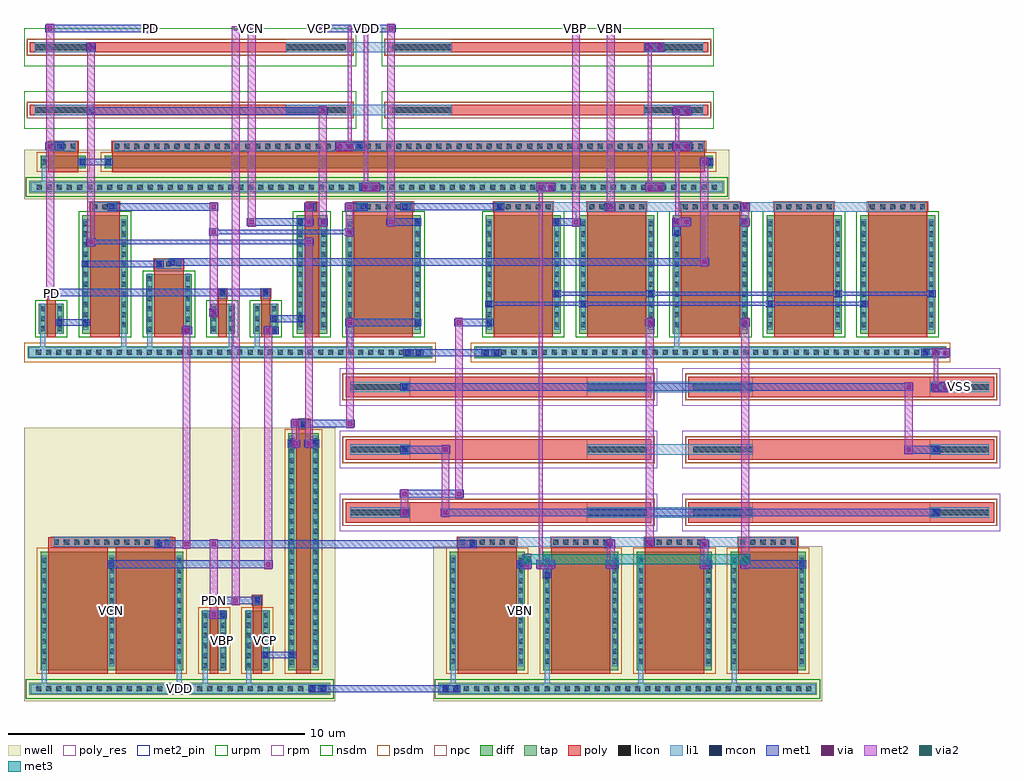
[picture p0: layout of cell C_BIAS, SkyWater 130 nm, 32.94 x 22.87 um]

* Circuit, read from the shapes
.subckt C_BIAS PD PDN VBN VBP VCN VCP VDD VSS
XM1 n1 PD VSS VSS sky130_fd_pr__nfet_01v8 w=1 l=0.3
XM2 VSS VBN n1 VSS sky130_fd_pr__nfet_01v8 w=4 l=1
XM3 VBP n1 VSS VSS sky130_fd_pr__nfet_01v8 w=2 l=1
XM4 VSS PD VBN VSS sky130_fd_pr__nfet_01v8 w=1 l=0.3
XM5 VCN PD VSS VSS sky130_fd_pr__nfet_01v8 w=1 l=0.3
XM6 n2 VCN VCN VSS sky130_fd_pr__nfet_01v8 w=4 l=0.5
XM7 VCP VBN VSS VSS sky130_fd_pr__nfet_01v8 w=4 l=2
XM8 VBP VBN n3 VSS sky130_fd_pr__nfet_01v8 w=4 l=2 m=4
XM9 VBN VBN VSS VSS sky130_fd_pr__nfet_01v8 w=4 l=2
XM10 VCN VBP VDD VDD sky130_fd_pr__pfet_01v8 w=4 l=2 m=2
XM11 n4 PD VDD VDD sky130_fd_pr__pfet_01v8 w=0.42 l=1
XM12 n1 VSS n4 VDD sky130_fd_pr__pfet_01v8 w=0.42 l=20
XM13 VBP PDN VDD VDD sky130_fd_pr__pfet_01v8 w=2 l=0.3
XM14 VCP PDN VDD VDD sky130_fd_pr__pfet_01v8 w=2 l=0.3
XM15 n5 VCP VCP VDD sky130_fd_pr__pfet_01v8 w=8 l=0.5
XM16 VBN VBP VDD VDD sky130_fd_pr__pfet_01v8 w=4 l=2 m=2
XM17 VBP VBP VDD VDD sky130_fd_pr__pfet_01v8 w=4 l=2 m=2
XR18 n6 n2 VSS sky130_fd_pr__res_xhigh_po w=0.35 l=6.38
XR19 n7 n5 VSS sky130_fd_pr__res_xhigh_po w=0.35 l=6.38
XR20 n8 n3 VSS sky130_fd_pr__res_high_po w=0.69 l=5.88
XR21 n9 n10 VSS sky130_fd_pr__res_high_po w=0.69 l=5.88
XR22 n11 n12 VSS sky130_fd_pr__res_high_po w=0.69 l=5.88
XR23 VSS n6 VSS sky130_fd_pr__res_xhigh_po w=0.35 l=6.38
XR24 VDD n7 VSS sky130_fd_pr__res_xhigh_po w=0.35 l=6.38
XR25 n10 n8 VSS sky130_fd_pr__res_high_po w=0.69 l=5.88
XR26 n12 n9 VSS sky130_fd_pr__res_high_po w=0.69 l=5.88
XR27 VSS n11 VSS sky130_fd_pr__res_high_po w=0.69 l=5.88
.ends

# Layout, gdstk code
import gdstk
lib = gdstk.Library(unit=1e-6, precision=1e-09)
def R(c, l, rs):  # rectangles x0, y0, x1, y1
    for r in rs: c.add(gdstk.rectangle(r[:2], r[2:], *l))
def A(c, l, x, y, w, h, nx, ny, dx, dy):  # array of equal rectangles
    R(c, l, [(x+i*dx, y+j*dy, x+i*dx+w, y+j*dy+h) for i in range(nx) for j in range(ny)])
nwell = (64, 20)
diff = (65, 20)
tap = (65, 44)
poly_res = (66, 13)
poly = (66, 20)
licon = (66, 44)
li1 = (67, 20)
mcon = (67, 44)
met1 = (68, 20)
via = (68, 44)
met2_pin = (69, 16)
met2 = (69, 20)
via2 = (69, 44)
met3 = (70, 20)
urpm = (79, 20)
rpm = (86, 20)
nsdm = (93, 44)
psdm = (94, 20)
npc = (95, 20)

c_bias = lib.new_cell('C_BIAS')
R(c_bias, nwell, [(-5.255,-1.055,5.255,8.18), (8.555,-1.055,21.685,4.18), (-5.255,15.885,18.555,17.57)])
A(c_bias, diff, 9.115, 0, 2.53, 4, 4, 1, 3.16, 0)
A(c_bias, diff, 10.33, 11.36, 2.53, 4, 5, 1, 3.16, 0)
R(c_bias, diff, [(-4.695,0,0.115,4), (0.745,0,1.575,2), (2.205,0,3.035,2), (3.665,0,4.695,8), (-4.75,11.36,-3.92,12.36), (-3.29,11.36,-1.76,15.36), (-1.13,11.36,0.4,13.36), (1.03,11.36,1.86,12.36), (2.49,11.36,3.32,12.36), (3.95,11.36,4.98,15.36), (5.61,11.36,8.14,15.36), (-4.695,16.94,-3.165,17.36), (-2.535,16.94,17.995,17.36)])
R(c_bias, tap, [(-5.075,-0.84,5.075,-0.43), (8.735,-0.84,21.505,-0.43), (-5.13,10.52,8.52,10.93), (9.95,10.52,25.88,10.93), (-5.075,16.1,18.375,16.51)])
A(c_bias, poly_res, 7.76, 4.975, 6, 0.69, 1, 3, 0, 2.12)
A(c_bias, poly_res, 19.33, 4.975, 6, 0.69, 1, 3, 0, 2.12)
R(c_bias, poly_res, [(-2.895,18.73,3.605,19.08), (9.175,18.73,15.675,19.08), (-2.895,20.85,3.605,21.2), (9.175,20.85,15.675,21.2)])
A(c_bias, poly, 9.38, -0.13, 2, 4.615, 4, 1, 3.16, 0)
A(c_bias, poly, 9.38, 4.155, 2, 0.33, 4, 1, 3.16, 0)
A(c_bias, poly, 5.6, 4.975, 10.32, 0.69, 1, 3, 0, 2.12)
A(c_bias, poly, 17.17, 4.975, 10.32, 0.69, 1, 3, 0, 2.12)
A(c_bias, poly, 10.595, 11.23, 2, 4.57, 5, 1, 3.16, 0)
A(c_bias, poly, 10.595, 15.47, 2, 0.33, 5, 1, 3.16, 0)
R(c_bias, poly, [(-4.43,-0.13,-2.43,4.485), (-2.15,-0.13,-0.15,4.485), (1.01,-0.13,1.31,2.515), (2.47,-0.13,2.77,2.515), (3.93,-0.13,4.43,8.485), (1.01,2.185,1.31,2.515), (2.47,2.185,2.77,2.515), (-4.43,4.155,-0.15,4.485), (3.93,8.155,4.43,8.485), (-4.485,11.23,-4.185,12.865), (-3.025,11.23,-2.025,15.8), (-0.865,11.23,0.135,13.875), (1.295,11.23,1.595,12.865), (2.755,11.23,3.055,12.865), (4.215,11.23,4.715,15.8), (5.875,11.23,7.875,15.8), (-4.485,12.535,-4.185,12.865), (1.295,12.535,1.595,12.865), (2.755,12.535,3.055,12.865), (-0.865,13.545,0.135,13.875), (-3.025,15.47,-2.025,15.8), (4.215,15.47,4.715,15.8), (5.875,15.47,7.875,15.8), (-4.43,16.81,-3.43,17.845), (-2.27,16.81,17.73,17.845), (-4.43,17.515,-3.43,17.845), (-2.27,17.515,17.73,17.845), (-5.055,18.73,5.765,19.08), (7.015,18.73,17.835,19.08), (-5.055,20.85,5.765,21.2), (7.015,20.85,17.835,21.2)])
A(c_bias, licon, -4.845, -0.72, 0.17, 0.17, 29, 1, 0.34, 0)
A(c_bias, licon, 8.915, -0.72, 0.17, 0.17, 37, 1, 0.34, 0)
A(c_bias, licon, 0.785, 0.065, 0.17, 0.17, 1, 6, 0, 0.34)
A(c_bias, licon, 1.365, 0.065, 0.17, 0.17, 1, 6, 0, 0.34)
A(c_bias, licon, 2.245, 0.065, 0.17, 0.17, 1, 6, 0, 0.34)
A(c_bias, licon, 2.825, 0.065, 0.17, 0.17, 1, 6, 0, 0.34)
A(c_bias, licon, 3.705, 0.175, 0.17, 0.17, 1, 23, 0, 0.34)
A(c_bias, licon, 4.485, 0.175, 0.17, 0.17, 1, 23, 0, 0.34)
A(c_bias, licon, -4.655, 0.215, 0.17, 0.17, 3, 11, 2.28, 0.34)
A(c_bias, licon, 9.155, 0.215, 0.17, 0.17, 1, 11, 0, 0.34)
A(c_bias, licon, 11.435, 0.215, 0.17, 0.17, 1, 11, 0, 0.34)
A(c_bias, licon, 12.315, 0.215, 0.17, 0.17, 1, 11, 0, 0.34)
A(c_bias, licon, 14.595, 0.215, 0.17, 0.17, 1, 11, 0, 0.34)
A(c_bias, licon, 15.475, 0.215, 0.17, 0.17, 1, 11, 0, 0.34)
A(c_bias, licon, 17.755, 0.215, 0.17, 0.17, 1, 11, 0, 0.34)
A(c_bias, licon, 18.635, 0.215, 0.17, 0.17, 1, 11, 0, 0.34)
A(c_bias, licon, 20.915, 0.215, 0.17, 0.17, 1, 11, 0, 0.34)
A(c_bias, licon, -4.245, 4.235, 0.17, 0.17, 12, 1, 0.34, 0)
A(c_bias, licon, 9.445, 4.235, 0.17, 0.17, 6, 1, 0.34, 0)
A(c_bias, licon, 12.605, 4.235, 0.17, 0.17, 6, 1, 0.34, 0)
A(c_bias, licon, 15.765, 4.235, 0.17, 0.17, 6, 1, 0.34, 0)
A(c_bias, licon, 18.925, 4.235, 0.17, 0.17, 6, 1, 0.34, 0)
A(c_bias, licon, 5.76, 5.225, 2, 0.19, 1, 3, 0, 2.12)
A(c_bias, licon, 13.76, 5.225, 2, 0.19, 1, 3, 0, 2.12)
A(c_bias, licon, 17.33, 5.225, 2, 0.19, 1, 3, 0, 2.12)
A(c_bias, licon, 25.33, 5.225, 2, 0.19, 1, 3, 0, 2.12)
A(c_bias, licon, -4.85, 10.64, 0.17, 0.17, 39, 1, 0.34, 0)
A(c_bias, licon, 10.18, 10.64, 0.17, 0.17, 46, 1, 0.34, 0)
A(c_bias, licon, -1.09, 11.425, 0.17, 0.17, 1, 6, 0, 0.34)
A(c_bias, licon, 0.19, 11.425, 0.17, 0.17, 1, 6, 0, 0.34)
A(c_bias, licon, -4.71, 11.435, 0.17, 0.17, 1, 3, 0, 0.34)
A(c_bias, licon, -4.13, 11.435, 0.17, 0.17, 1, 3, 0, 0.34)
A(c_bias, licon, 1.07, 11.435, 0.17, 0.17, 1, 3, 0, 0.34)
A(c_bias, licon, 1.65, 11.435, 0.17, 0.17, 1, 3, 0, 0.34)
A(c_bias, licon, 2.53, 11.435, 0.17, 0.17, 1, 3, 0, 0.34)
A(c_bias, licon, 3.11, 11.435, 0.17, 0.17, 1, 3, 0, 0.34)
A(c_bias, licon, -3.25, 11.575, 0.17, 0.17, 1, 11, 0, 0.34)
A(c_bias, licon, -1.97, 11.575, 0.17, 0.17, 1, 11, 0, 0.34)
A(c_bias, licon, 3.99, 11.575, 0.17, 0.17, 1, 11, 0, 0.34)
A(c_bias, licon, 4.77, 11.575, 0.17, 0.17, 1, 11, 0, 0.34)
A(c_bias, licon, 5.65, 11.575, 0.17, 0.17, 1, 11, 0, 0.34)
A(c_bias, licon, 7.93, 11.575, 0.17, 0.17, 1, 11, 0, 0.34)
A(c_bias, licon, 10.37, 11.575, 0.17, 0.17, 1, 11, 0, 0.34)
A(c_bias, licon, 12.65, 11.575, 0.17, 0.17, 1, 11, 0, 0.34)
A(c_bias, licon, 13.53, 11.575, 0.17, 0.17, 1, 11, 0, 0.34)
A(c_bias, licon, 15.81, 11.575, 0.17, 0.17, 1, 11, 0, 0.34)
A(c_bias, licon, 16.69, 11.575, 0.17, 0.17, 1, 11, 0, 0.34)
A(c_bias, licon, 18.97, 11.575, 0.17, 0.17, 1, 11, 0, 0.34)
A(c_bias, licon, 19.85, 11.575, 0.17, 0.17, 1, 11, 0, 0.34)
A(c_bias, licon, 22.13, 11.575, 0.17, 0.17, 1, 11, 0, 0.34)
A(c_bias, licon, 23.01, 11.575, 0.17, 0.17, 1, 11, 0, 0.34)
A(c_bias, licon, 25.29, 11.575, 0.17, 0.17, 1, 11, 0, 0.34)
A(c_bias, licon, -0.79, 13.625, 0.17, 0.17, 3, 1, 0.34, 0)
A(c_bias, licon, -2.95, 15.55, 0.17, 0.17, 3, 1, 0.34, 0)
A(c_bias, licon, 5.94, 15.55, 0.17, 0.17, 6, 1, 0.34, 0)
A(c_bias, licon, 10.66, 15.55, 0.17, 0.17, 6, 1, 0.34, 0)
A(c_bias, licon, 13.82, 15.55, 0.17, 0.17, 6, 1, 0.34, 0)
A(c_bias, licon, 16.98, 15.55, 0.17, 0.17, 6, 1, 0.34, 0)
A(c_bias, licon, 20.14, 15.55, 0.17, 0.17, 6, 1, 0.34, 0)
A(c_bias, licon, 23.3, 15.55, 0.17, 0.17, 6, 1, 0.34, 0)
A(c_bias, licon, -4.825, 16.22, 0.17, 0.17, 68, 1, 0.34, 0)
A(c_bias, licon, -4.355, 17.595, 0.17, 0.17, 3, 1, 0.34, 0)
A(c_bias, licon, -2.215, 17.595, 0.17, 0.17, 59, 1, 0.34, 0)
R(c_bias, licon, [(1.075,2.265,1.245,2.435), (2.535,2.265,2.705,2.435), (4.095,8.235,4.265,8.405), (-4.42,12.615,-4.25,12.785), (1.36,12.615,1.53,12.785), (2.82,12.615,2.99,12.785), (4.38,15.55,4.55,15.72), (-4.655,17.065,-4.485,17.235), (-3.375,17.065,-3.205,17.235), (-2.495,17.065,-2.325,17.235), (17.785,17.065,17.955,17.235), (-4.895,18.81,-2.895,19), (3.605,18.81,5.605,19), (7.175,18.81,9.175,19), (15.675,18.81,17.675,19), (-4.895,20.93,-2.895,21.12), (3.605,20.93,5.605,21.12), (7.175,20.93,9.175,21.12), (15.675,20.93,17.675,21.12)])
A(c_bias, li1, 9.155, -0.47, 0.17, 0.605, 4, 1, 3.16, 0)
A(c_bias, li1, -4.655, 0.135, 0.17, 3.73, 3, 1, 2.28, 0)
A(c_bias, li1, 11.435, 3.485, 0.17, 0.17, 4, 1, 3.16, 0)
A(c_bias, li1, 9.445, 4.155, 1.87, 0.33, 4, 1, 3.16, 0)
A(c_bias, li1, 11.315, 4.155, 1.29, 0.33, 3, 1, 3.16, 0)
A(c_bias, li1, 5.76, 5.145, 2, 0.35, 1, 3, 0, 2.12)
A(c_bias, li1, 13.76, 5.145, 2, 0.35, 1, 3, 0, 2.12)
A(c_bias, li1, 15.76, 5.145, 1.57, 0.35, 1, 3, 0, 2.12)
A(c_bias, li1, 17.33, 5.145, 2, 0.35, 1, 3, 0, 2.12)
A(c_bias, li1, 25.33, 5.145, 2, 0.35, 1, 3, 0, 2.12)
A(c_bias, li1, 7.505, 5.235, 0.17, 0.17, 1, 3, 0, 2.12)
A(c_bias, li1, 10.66, 15.47, 1.87, 0.33, 5, 1, 3.16, 0)
A(c_bias, li1, 12.53, 15.47, 1.29, 0.33, 4, 1, 3.16, 0)
R(c_bias, li1, [(-5.035,-0.8,5.035,-0.47), (8.775,-0.8,9.41,-0.47), (8.775,-0.8,21.465,-0.47), (8.88,-0.8,12.315,-0.47), (4.41,-0.72,4.94,-0.55), (8.88,-0.72,9.41,-0.55), (-4.655,-0.47,-4.485,0.135), (-0.095,-0.47,0.075,0.135), (0.785,-0.47,0.955,-0.015), (2.245,-0.47,2.415,-0.015), (0.785,-0.015,0.955,2.015), (1.365,-0.015,1.535,2.015), (2.245,-0.015,2.415,2.015), (2.825,-0.015,2.995,2.015), (3.705,0.095,3.875,7.905), (4.485,0.095,4.655,7.905), (9.155,0.135,9.325,3.865), (11.435,0.135,11.605,3.865), (12.315,0.135,12.485,3.865), (14.595,0.135,14.765,3.865), (15.475,0.135,15.645,3.865), (17.755,0.135,17.925,3.865), (18.635,0.135,18.805,3.865), (20.915,0.135,21.085,3.865), (2.825,0.425,2.995,0.595), (3.705,0.425,3.875,0.595), (1.365,1.785,1.535,1.955), (1.075,2.185,1.245,2.515), (2.535,2.185,2.705,2.515), (1.075,2.265,1.245,2.435), (2.535,2.265,2.705,2.435), (12.315,3.125,12.485,3.655), (-2.375,3.485,-2.205,3.655), (-4.245,4.155,-0.335,4.485), (-0.775,4.165,-0.605,4.335), (9.805,4.165,9.975,4.335), (14.405,4.165,14.575,4.335), (17.625,4.165,17.795,4.335), (15.785,4.235,15.955,4.405), (25.445,5.235,25.615,5.405), (25.445,7.355,25.615,7.525), (3.705,7.565,3.875,7.735), (4.485,7.565,4.655,7.735), (4.095,8.155,4.265,8.485), (4.095,8.235,4.265,8.405), (25.445,9.475,25.975,9.645), (-5.09,10.56,8.48,10.89), (9.99,10.56,25.84,10.89), (7.605,10.625,8.135,10.795), (10.265,10.625,10.795,10.795), (25.085,10.625,25.615,10.795), (-4.71,10.89,-4.54,11.355), (-1.97,10.89,-1.8,11.495), (-1.09,10.89,-0.92,11.345), (1.65,10.89,1.82,11.355), (2.53,10.89,2.7,11.355), (5.65,10.89,5.82,11.495), (16.69,10.89,16.86,11.495), (-1.09,11.345,-0.92,13.375), (0.19,11.345,0.36,13.375), (-4.71,11.355,-4.54,12.365), (-4.13,11.355,-3.96,12.365), (1.07,11.355,1.24,12.365), (1.65,11.355,1.82,12.365), (2.53,11.355,2.7,12.365), (3.11,11.355,3.28,12.365), (0.19,11.375,0.36,11.545), (3.11,11.375,3.28,11.545), (-3.25,11.495,-3.08,15.225), (-1.97,11.495,-1.8,15.225), (3.99,11.495,4.16,15.225), (4.77,11.495,4.94,15.225), (5.65,11.495,5.82,15.225), (7.93,11.495,8.1,15.225), (10.37,11.495,10.54,15.225), (12.65,11.495,12.82,15.225), (13.53,11.495,13.7,15.225), (15.81,11.495,15.98,15.225), (16.69,11.495,16.86,15.225), (18.97,11.495,19.14,15.225), (19.85,11.495,20.02,15.225), (22.13,11.495,22.3,15.225), (23.01,11.495,23.18,15.225), (25.29,11.495,25.46,15.225), (-4.13,11.645,-3.96,11.815), (-3.25,11.645,-3.08,11.815), (7.93,11.645,8.1,11.815), (10.37,11.645,10.54,11.815), (15.81,11.645,15.98,11.815), (18.97,11.645,19.14,11.815), (3.11,11.775,3.28,11.945), (3.99,11.775,4.16,11.945), (1.07,11.985,1.24,12.155), (10.37,12.275,10.54,12.445), (13.53,12.275,13.7,12.445), (19.85,12.275,20.02,12.445), (23.01,12.275,23.18,12.445), (-4.42,12.535,-4.25,12.865), (1.36,12.535,1.53,12.865), (2.82,12.535,2.99,12.865), (12.65,12.615,12.82,12.785), (15.81,12.615,15.98,12.785), (22.13,12.615,22.3,12.785), (25.29,12.615,25.46,12.785), (-4.42,12.665,-4.25,12.835), (1.36,12.665,1.53,12.835), (2.82,12.665,2.99,12.835), (-0.79,13.545,0.06,13.875), (-3.25,13.625,-3.08,13.795), (-0.775,13.625,-0.605,13.795), (-0.315,13.685,-0.145,13.855), (16.69,14.685,16.86,15.215), (3.99,15.045,4.16,15.215), (4.77,15.045,4.94,15.215), (7.93,15.045,8.1,15.215), (12.65,15.045,12.82,15.215), (18.97,15.045,19.14,15.215), (-2.95,15.47,-2.1,15.8), (4.38,15.47,4.55,15.8), (5.94,15.47,7.81,15.8), (-2.375,15.55,-2.205,15.72), (4.38,15.55,4.55,15.72), (6.125,15.55,6.295,15.72), (7.505,15.55,7.675,15.72), (10.725,15.55,10.895,15.72), (14.405,15.55,14.575,15.72), (19.005,15.55,19.175,15.72), (-5.035,16.14,18.335,16.47), (6.125,16.22,6.655,16.39), (12.105,16.22,12.635,16.39), (15.785,16.22,16.315,16.39), (-4.655,16.47,-4.485,16.985), (-4.655,16.985,-4.485,17.315), (-3.375,16.985,-3.205,17.315), (-2.495,16.985,-2.325,17.315), (17.785,16.985,17.955,17.315), (-3.375,17.065,-3.205,17.235), (-2.495,17.065,-2.325,17.235), (17.785,17.065,17.955,17.235), (-4.355,17.515,-3.505,17.845), (-2.215,17.515,17.675,17.845), (-4.13,17.595,-3.96,17.765), (5.65,17.595,6.18,17.765), (16.705,17.595,17.235,17.765), (-4.895,18.73,-2.895,19.08), (3.605,18.73,5.605,19.08), (5.605,18.73,7.175,19.08), (7.175,18.73,9.175,19.08), (15.675,18.73,17.675,19.08), (-3.075,18.785,-2.905,18.955), (16.705,18.785,17.235,18.955), (-4.895,20.85,-2.895,21.2), (3.605,20.85,5.605,21.2), (5.605,20.85,7.175,21.2), (7.175,20.85,9.175,21.2), (15.675,20.85,17.675,21.2), (-3.075,20.94,-2.905,21.11), (15.785,20.94,16.315,21.11)])
A(c_bias, mcon, 14.595, 3.485, 0.17, 0.17, 3, 1, 3.16, 0)
A(c_bias, mcon, 7.505, 5.235, 0.17, 0.17, 1, 3, 0, 2.12)
A(c_bias, mcon, 25.445, 5.235, 0.17, 0.17, 1, 3, 0, 2.12)
R(c_bias, mcon, [(4.41,-0.72,4.58,-0.55), (4.77,-0.72,4.94,-0.55), (8.88,-0.72,9.05,-0.55), (9.24,-0.72,9.41,-0.55), (2.825,0.425,2.995,0.595), (3.705,0.425,3.875,0.595), (1.365,1.785,1.535,1.955), (1.075,2.265,1.245,2.435), (2.535,2.265,2.705,2.435), (12.315,3.125,12.485,3.295), (-2.375,3.485,-2.205,3.655), (11.435,3.485,11.605,3.655), (12.315,3.485,12.485,3.655), (-0.775,4.165,-0.605,4.335), (9.805,4.165,9.975,4.335), (14.405,4.165,14.575,4.335), (17.625,4.165,17.795,4.335), (15.785,4.235,15.955,4.405), (3.705,7.565,3.875,7.735), (4.485,7.565,4.655,7.735), (4.095,8.235,4.265,8.405), (25.805,9.475,25.975,9.645), (7.605,10.625,7.775,10.795), (7.965,10.625,8.135,10.795), (10.265,10.625,10.435,10.795), (10.625,10.625,10.795,10.795), (25.085,10.625,25.255,10.795), (25.445,10.625,25.615,10.795), (0.19,11.375,0.36,11.545), (3.11,11.375,3.28,11.545), (-4.13,11.645,-3.96,11.815), (-3.25,11.645,-3.08,11.815), (7.93,11.645,8.1,11.815), (10.37,11.645,10.54,11.815), (15.81,11.645,15.98,11.815), (18.97,11.645,19.14,11.815), (3.11,11.775,3.28,11.945), (3.99,11.775,4.16,11.945), (1.07,11.985,1.24,12.155), (10.37,12.275,10.54,12.445), (13.53,12.275,13.7,12.445), (19.85,12.275,20.02,12.445), (23.01,12.275,23.18,12.445), (12.65,12.615,12.82,12.785), (15.81,12.615,15.98,12.785), (22.13,12.615,22.3,12.785), (25.29,12.615,25.46,12.785), (-4.42,12.665,-4.25,12.835), (1.36,12.665,1.53,12.835), (2.82,12.665,2.99,12.835), (-3.25,13.625,-3.08,13.795), (-0.775,13.625,-0.605,13.795), (-0.315,13.685,-0.145,13.855), (16.69,14.685,16.86,14.855), (3.99,15.045,4.16,15.215), (4.77,15.045,4.94,15.215), (7.93,15.045,8.1,15.215), (12.65,15.045,12.82,15.215), (16.69,15.045,16.86,15.215), (18.97,15.045,19.14,15.215), (-2.375,15.55,-2.205,15.72), (4.38,15.55,4.55,15.72), (6.125,15.55,6.295,15.72), (7.505,15.55,7.675,15.72), (10.725,15.55,10.895,15.72), (14.405,15.55,14.575,15.72), (19.005,15.55,19.175,15.72), (6.125,16.22,6.295,16.39), (6.485,16.22,6.655,16.39), (12.105,16.22,12.275,16.39), (12.465,16.22,12.635,16.39), (15.785,16.22,15.955,16.39), (16.145,16.22,16.315,16.39), (-3.375,17.065,-3.205,17.235), (-2.495,17.065,-2.325,17.235), (17.785,17.065,17.955,17.235), (-4.13,17.595,-3.96,17.765), (5.65,17.595,5.82,17.765), (6.01,17.595,6.18,17.765), (16.705,17.595,16.875,17.765), (17.065,17.595,17.235,17.765), (-3.075,18.785,-2.905,18.955), (16.705,18.785,16.875,18.955), (17.065,18.785,17.235,18.955), (-3.075,20.94,-2.905,21.11), (15.785,20.94,15.955,21.11), (16.145,20.94,16.315,21.11)])
A(c_bias, met1, 11.375, 3.455, 0.29, 0.23, 4, 1, 3.16, 0)
A(c_bias, met1, 7.445, 5.205, 0.29, 0.23, 1, 3, 0, 2.12)
R(c_bias, met1, [(4.35,-0.75,5,-0.52), (4.785,-0.75,9.035,-0.52), (8.82,-0.75,9.47,-0.52), (4.785,-0.705,9.035,-0.565), (2.765,0.395,3.055,0.625), (2.84,0.395,3.86,0.625), (3.645,0.395,3.935,0.625), (2.84,0.44,3.86,0.58), (0.99,1.74,1.31,2), (0.99,1.74,1.595,2), (1.08,1.74,1.52,2), (1.08,1.74,1.595,2), (1.08,1.755,1.52,1.985), (1.305,1.755,1.595,1.985), (1.08,1.8,1.52,1.94), (1.015,2.22,2.69,2.48), (1.09,2.22,2.69,2.48), (1.09,2.22,2.765,2.48), (1.73,2.22,2.05,2.48), (1.015,2.235,1.305,2.465), (1.09,2.235,2.69,2.465), (2.475,2.235,2.765,2.465), (1.09,2.28,2.69,2.42), (12.255,3.095,12.545,3.685), (-2.435,3.44,3.06,3.7), (-2.36,3.44,3.06,3.7), (2.83,3.44,3.15,3.7), (11.375,3.44,11.8,3.7), (11.375,3.44,11.89,3.7), (11.45,3.44,11.8,3.7), (11.57,3.44,11.89,3.7), (12.03,3.44,12.67,3.7), (12.12,3.44,12.47,3.7), (14.39,3.44,14.71,3.7), (14.39,3.44,14.825,3.7), (14.48,3.44,14.75,3.7), (14.48,3.44,14.825,3.7), (17.55,3.44,17.87,3.7), (17.55,3.44,17.985,3.7), (17.64,3.44,17.91,3.7), (17.64,3.44,17.985,3.7), (18.93,3.44,19.25,3.7), (19.02,3.44,21.07,3.7), (19.02,3.44,21.145,3.7), (-2.435,3.455,-2.145,3.685), (-2.36,3.455,3.06,3.685), (11.45,3.455,11.8,3.685), (14.48,3.455,14.75,3.685), (17.64,3.455,17.91,3.685), (19.02,3.455,21.07,3.685), (-2.36,3.5,3.06,3.64), (11.45,3.5,11.8,3.64), (12.12,3.5,12.47,3.64), (14.48,3.5,14.75,3.64), (17.64,3.5,17.91,3.64), (19.02,3.5,21.07,3.64), (-0.835,4.12,9.96,4.38), (-0.76,4.12,9.96,4.38), (-0.76,4.12,10.035,4.38), (0.07,4.12,0.39,4.38), (0.99,4.12,1.31,4.38), (14.345,4.12,14.71,4.38), (14.39,4.12,14.71,4.38), (14.42,4.12,14.62,4.38), (17.55,4.12,17.87,4.38), (-0.835,4.135,-0.545,4.365), (-0.76,4.135,9.96,4.365), (9.745,4.135,10.035,4.365), (14.345,4.135,14.635,4.365), (14.42,4.135,14.62,4.365), (17.565,4.135,17.855,4.365), (-0.76,4.18,9.96,4.32), (14.42,4.18,14.62,4.32), (15.71,4.19,16.03,4.45), (15.725,4.205,16.015,4.435), (7.43,5.19,7.75,5.45), (8.81,5.19,9.13,5.45), (8.9,5.19,25.6,5.45), (8.9,5.19,25.675,5.45), (8.9,5.205,25.6,5.435), (25.385,5.205,25.675,5.435), (8.9,5.25,25.6,5.39), (7.43,5.82,7.75,6.08), (7.52,5.82,9.5,6.08), (9.27,5.82,9.59,6.08), (7.52,5.88,9.5,6.02), (7.445,7.31,9.04,7.57), (7.52,7.31,9.04,7.57), (8.81,7.31,9.13,7.57), (24.45,7.31,24.77,7.57), (24.54,7.31,25.6,7.57), (24.54,7.31,25.675,7.57), (7.52,7.325,9.04,7.555), (24.54,7.325,25.6,7.555), (25.385,7.325,25.675,7.555), (7.52,7.37,9.04,7.51), (24.54,7.37,25.6,7.51), (3.645,7.52,4.07,7.78), (3.645,7.52,3.98,7.78), (3.72,7.52,3.98,7.78), (3.75,7.52,4.07,7.78), (4.21,7.52,4.53,7.78), (4.21,7.52,4.715,7.78), (4.3,7.52,4.64,7.78), (4.3,7.52,4.715,7.78), (3.645,7.535,3.935,7.765), (3.72,7.535,3.98,7.765), (4.3,7.535,4.64,7.765), (4.425,7.535,4.715,7.765), (3.72,7.58,3.98,7.72), (4.3,7.58,4.64,7.72), (3.75,8.19,4.07,8.45), (3.75,8.19,4.325,8.45), (3.84,8.19,4.25,8.45), (3.84,8.19,4.325,8.45), (4.035,8.19,5.82,8.45), (4.11,8.19,5.82,8.45), (5.59,8.19,5.91,8.45), (3.84,8.205,4.25,8.435), (4.035,8.205,4.325,8.435), (4.11,8.205,5.82,8.435), (3.84,8.25,4.25,8.39), (4.11,8.25,5.82,8.39), (7.445,9.43,24.68,9.69), (7.52,9.43,24.68,9.69), (24.45,9.43,24.77,9.69), (25.37,9.43,26.035,9.69), (25.37,9.43,26.01,9.69), (7.52,9.445,24.68,9.675), (25.385,9.445,26.035,9.675), (7.52,9.49,24.68,9.63), (25.025,10.58,26.01,10.84), (25.37,10.58,26.01,10.84), (7.545,10.595,8.195,10.825), (7.98,10.595,10.42,10.825), (10.205,10.595,10.855,10.825), (25.025,10.595,25.675,10.825), (7.98,10.64,10.42,10.78), (0.07,11.33,0.39,11.59), (0.07,11.33,0.42,11.59), (0.16,11.33,0.345,11.59), (2.83,11.33,3.15,11.59), (2.83,11.33,3.34,11.59), (2.92,11.33,3.34,11.59), (2.92,11.33,3.265,11.59), (0.13,11.345,0.42,11.575), (0.16,11.345,0.345,11.575), (2.92,11.345,3.265,11.575), (3.05,11.345,3.34,11.575), (0.16,11.39,0.345,11.53), (2.92,11.39,3.265,11.53), (5.59,11.6,5.91,11.86), (5.68,11.6,8.085,11.86), (5.68,11.6,8.16,11.86), (9.27,11.6,9.59,11.86), (9.36,11.6,10.6,11.86), (9.36,11.6,10.525,11.86), (15.71,11.6,16.04,11.86), (15.71,11.6,16.03,11.86), (15.8,11.6,15.965,11.86), (18.91,11.6,19.25,11.86), (18.93,11.6,19.25,11.86), (18.985,11.6,19.16,11.86), (-4.19,11.615,-3.9,11.845), (-4.115,11.615,-3.095,11.845), (-3.31,11.615,-3.02,11.845), (5.68,11.615,8.085,11.845), (7.87,11.615,8.16,11.845), (9.36,11.615,10.525,11.845), (10.31,11.615,10.6,11.845), (15.75,11.615,16.04,11.845), (15.8,11.615,15.965,11.845), (18.91,11.615,19.2,11.845), (18.985,11.615,19.16,11.845), (-4.115,11.66,-3.095,11.8), (5.68,11.66,8.085,11.8), (9.36,11.66,10.525,11.8), (15.8,11.66,15.965,11.8), (18.985,11.66,19.16,11.8), (3.05,11.745,3.34,11.975), (3.125,11.745,4.145,11.975), (3.93,11.745,4.22,11.975), (3.125,11.79,4.145,11.93), (0.99,11.94,1.31,12.2), (1.08,11.94,1.225,12.2), (1.01,11.955,1.3,12.185), (1.08,11.955,1.225,12.185), (1.08,12,1.225,12.14), (10.31,12.245,10.6,12.475), (13.47,12.245,13.76,12.475), (19.79,12.245,20.08,12.475), (22.95,12.245,23.24,12.475), (10.385,12.29,13.685,12.43), (13.545,12.29,20.005,12.43), (19.865,12.29,23.165,12.43), (12.59,12.585,12.88,12.815), (15.75,12.585,16.04,12.815), (22.07,12.585,22.36,12.815), (25.23,12.585,25.52,12.815), (-4.53,12.62,-4.21,12.88), (-4.53,12.62,-4.19,12.88), (-4.48,12.62,1.515,12.88), (-4.44,12.62,-4.265,12.88), (-4.405,12.62,1.59,12.88), (-4.405,12.62,1.515,12.88), (-4.405,12.62,3.05,12.88), (-4.405,12.62,2.975,12.88), (12.665,12.63,15.965,12.77), (15.825,12.63,22.285,12.77), (22.145,12.63,25.445,12.77), (-4.48,12.635,-4.19,12.865), (-4.44,12.635,-4.265,12.865), (-4.405,12.635,1.515,12.865), (1.3,12.635,1.59,12.865), (1.375,12.635,2.975,12.865), (2.76,12.635,3.05,12.865), (-4.44,12.68,-4.265,12.82), (-4.405,12.68,1.515,12.82), (1.375,12.68,2.975,12.82), (-3.31,13.595,-3.02,13.825), (-3.235,13.595,-0.62,13.825), (-0.835,13.595,-0.545,13.825), (-3.235,13.64,-0.62,13.78), (-0.375,13.64,17.78,13.9), (-0.3,13.64,17.78,13.9), (17.55,13.64,17.87,13.9), (-0.375,13.655,-0.085,13.885), (-0.3,13.655,17.78,13.885), (-0.3,13.7,17.78,13.84), (-3.15,14.32,-2.83,14.58), (4.21,14.32,4.53,14.58), (-3.06,14.38,4.44,14.52), (16.63,14.655,16.92,15.245), (0.99,14.66,1.31,14.92), (5.575,14.66,5.895,14.92), (1.08,14.72,5.805,14.86), (2.27,15,2.59,15.26), (2.36,15,4.22,15.26), (2.36,15,4.145,15.26), (3.93,15,4.44,15.26), (3.93,15,4.53,15.26), (4.005,15,4.44,15.26), (4.21,15,4.53,15.26), (4.67,15,5,15.26), (4.67,15,4.99,15.26), (4.76,15,4.925,15.26), (6.97,15,7.29,15.26), (7.06,15,8.085,15.26), (7.06,15,8.16,15.26), (12.59,15,13.445,15.26), (12.665,15,13.445,15.26), (13.215,15,13.535,15.26), (16.63,15,17.27,15.26), (16.705,15,16.86,15.26), (18.91,15,19.25,15.26), (18.93,15,19.25,15.26), (18.985,15,19.16,15.26), (2.36,15.015,4.145,15.245), (3.93,15.015,4.22,15.245), (4.005,15.015,4.44,15.245), (4.71,15.015,5,15.245), (4.76,15.015,4.925,15.245), (7.06,15.015,8.085,15.245), (7.87,15.015,8.16,15.245), (12.59,15.015,12.88,15.245), (12.665,15.015,13.445,15.245), (18.91,15.015,19.2,15.245), (18.985,15.015,19.16,15.245), (2.36,15.06,4.145,15.2), (4.005,15.06,4.44,15.2), (4.76,15.06,4.925,15.2), (7.06,15.06,8.085,15.2), (12.665,15.06,13.445,15.2), (16.705,15.06,16.86,15.2), (18.985,15.06,19.16,15.2), (-2.435,15.505,1.22,15.765), (-2.36,15.505,1.22,15.765), (0.99,15.505,1.31,15.765), (4.21,15.505,4.61,15.765), (4.21,15.505,4.53,15.765), (4.3,15.505,4.535,15.765), (4.3,15.505,4.61,15.765), (5.575,15.505,5.895,15.765), (5.665,15.505,6.355,15.765), (5.665,15.505,6.28,15.765), (14.345,15.505,14.71,15.765), (14.39,15.505,14.71,15.765), (14.42,15.505,14.62,15.765), (18.93,15.505,19.25,15.765), (-2.435,15.52,-2.145,15.75), (-2.36,15.52,1.22,15.75), (4.3,15.52,4.535,15.75), (4.32,15.52,4.61,15.75), (5.665,15.52,6.28,15.75), (6.065,15.52,6.355,15.75), (7.445,15.52,7.735,15.75), (7.52,15.52,10.88,15.75), (10.665,15.52,10.955,15.75), (14.345,15.52,14.635,15.75), (14.42,15.52,14.62,15.75), (18.945,15.52,19.235,15.75), (-2.36,15.565,1.22,15.705), (4.3,15.565,4.535,15.705), (5.665,15.565,6.28,15.705), (7.52,15.565,10.88,15.705), (14.42,15.565,14.62,15.705), (6.065,16.175,6.77,16.435), (6.13,16.175,6.77,16.435), (6.14,16.175,6.36,16.435), (12.03,16.175,12.695,16.435), (12.03,16.175,12.67,16.435), (15.71,16.175,16.375,16.435), (15.71,16.175,16.35,16.435), (6.065,16.19,6.715,16.42), (6.14,16.19,6.36,16.42), (12.045,16.19,12.695,16.42), (15.725,16.19,16.375,16.42), (6.14,16.235,6.36,16.375), (17.55,17.02,17.87,17.28), (17.55,17.02,18.015,17.28), (17.64,17.02,17.94,17.28), (17.64,17.02,18.015,17.28), (-3.435,17.035,-3.145,17.265), (-3.36,17.035,-2.34,17.265), (-2.555,17.035,-2.265,17.265), (17.64,17.035,17.94,17.265), (17.725,17.035,18.015,17.265), (-3.36,17.08,-2.34,17.22), (17.64,17.08,17.94,17.22), (-4.53,17.55,-4.21,17.81), (-4.44,17.55,-3.9,17.81), (-4.44,17.55,-3.975,17.81), (5.255,17.55,6.24,17.81), (5.255,17.55,5.895,17.81), (16.63,17.55,17.295,17.81), (16.63,17.55,17.27,17.81), (-4.44,17.565,-3.975,17.795), (-4.19,17.565,-3.9,17.795), (5.59,17.565,6.24,17.795), (16.645,17.565,17.295,17.795), (-4.44,17.61,-3.975,17.75), (-3.135,18.74,4.9,19), (-3.06,18.74,4.9,19), (4.67,18.74,4.99,19), (16.63,18.74,17.295,19), (16.63,18.74,17.27,19), (-3.135,18.755,-2.845,18.985), (-3.06,18.755,4.9,18.985), (16.645,18.755,17.295,18.985), (-3.06,18.8,4.9,18.94), (-3.15,20.895,-2.83,21.155), (15.71,20.895,16.375,21.155), (15.71,20.895,16.35,21.155), (-3.135,20.91,-2.845,21.14), (15.725,20.91,16.375,21.14), (-4.53,21.53,-4.21,21.79), (-4.44,21.53,-0.91,21.79), (-1.14,21.53,-0.82,21.79), (4.56,21.53,4.88,21.79), (4.65,21.53,7.2,21.79), (6.97,21.53,7.29,21.79), (-4.44,21.59,-0.91,21.73), (4.65,21.59,7.2,21.73)])
R(c_bias, via, [(1.075,1.795,1.225,1.945), (1.815,2.275,1.965,2.425), (2.915,3.495,3.065,3.645), (11.655,3.495,11.805,3.645), (12.115,3.495,12.265,3.645), (12.435,3.495,12.585,3.645), (14.475,3.495,14.625,3.645), (17.635,3.495,17.785,3.645), (19.015,3.495,19.165,3.645), (0.155,4.175,0.305,4.325), (1.075,4.175,1.225,4.325), (14.475,4.175,14.625,4.325), (17.635,4.175,17.785,4.325), (15.795,4.245,15.945,4.395), (7.515,5.245,7.665,5.395), (8.895,5.245,9.045,5.395), (7.515,5.875,7.665,6.025), (9.355,5.875,9.505,6.025), (8.895,7.365,9.045,7.515), (24.535,7.365,24.685,7.515), (3.835,7.575,3.985,7.725), (4.295,7.575,4.445,7.725), (3.835,8.245,3.985,8.395), (5.675,8.245,5.825,8.395), (24.535,9.485,24.685,9.635), (25.455,9.485,25.605,9.635), (25.775,9.485,25.925,9.635), (25.455,10.635,25.605,10.785), (25.775,10.635,25.925,10.785), (0.155,11.385,0.305,11.535), (2.915,11.385,3.065,11.535), (5.675,11.655,5.825,11.805), (9.355,11.655,9.505,11.805), (15.795,11.655,15.945,11.805), (19.015,11.655,19.165,11.805), (1.075,11.995,1.225,12.145), (-4.445,12.675,-4.295,12.825), (17.635,13.695,17.785,13.845), (-3.065,14.375,-2.915,14.525), (4.295,14.375,4.445,14.525), (1.075,14.715,1.225,14.865), (5.66,14.715,5.81,14.865), (2.355,15.055,2.505,15.205), (4.295,15.055,4.445,15.205), (4.755,15.055,4.905,15.205), (7.055,15.055,7.205,15.205), (13.3,15.055,13.45,15.205), (16.715,15.055,16.865,15.205), (17.035,15.055,17.185,15.205), (19.015,15.055,19.165,15.205), (1.075,15.56,1.225,15.71), (4.295,15.56,4.445,15.71), (5.66,15.56,5.81,15.71), (14.475,15.56,14.625,15.71), (19.015,15.56,19.165,15.71), (6.215,16.23,6.365,16.38), (6.535,16.23,6.685,16.38), (12.115,16.23,12.265,16.38), (12.435,16.23,12.585,16.38), (15.795,16.23,15.945,16.38), (16.115,16.23,16.265,16.38), (17.635,17.075,17.785,17.225), (-4.445,17.605,-4.295,17.755), (5.34,17.605,5.49,17.755), (5.66,17.605,5.81,17.755), (16.715,17.605,16.865,17.755), (17.035,17.605,17.185,17.755), (4.755,18.795,4.905,18.945), (16.715,18.795,16.865,18.945), (17.035,18.795,17.185,18.945), (-3.065,20.95,-2.915,21.1), (15.795,20.95,15.945,21.1), (16.115,20.95,16.265,21.1), (-4.445,21.585,-4.295,21.735), (-1.055,21.585,-0.905,21.735), (4.645,21.585,4.795,21.735), (7.055,21.585,7.205,21.735)])
R(c_bias, met2_pin, [(-1.05,21.59,-0.91,21.73), (1.82,21.59,1.96,21.73), (2.36,21.59,2.5,21.73), (4.65,21.59,4.79,21.73), (5.665,21.59,5.805,21.73), (6.22,21.59,6.36,21.73), (13.305,21.59,13.445,21.73), (14.48,21.59,14.62,21.73)])
R(c_bias, met2, [(1.02,1.71,1.28,2.03), (1.02,1.8,1.28,4.32), (1.08,1.8,1.22,4.32), (1.76,2.19,2.02,2.51), (1.76,2.28,2.02,21.73), (1.82,2.28,1.96,21.73), (2.86,3.41,3.12,3.73), (11.59,3.41,11.87,3.925), (11.59,3.41,11.87,3.81), (11.6,3.41,11.86,3.73), (12.06,3.41,12.64,3.73), (14.42,3.41,14.68,3.73), (17.58,3.41,17.84,3.73), (18.95,3.41,19.23,11.8), (18.96,3.41,19.22,3.73), (2.86,3.5,3.12,11.53), (2.92,3.5,3.06,11.53), (11.59,3.5,11.87,3.81), (11.6,3.5,11.86,3.81), (11.66,3.5,11.8,3.81), (12.12,3.5,12.26,16.375), (14.42,3.5,14.68,4.32), (14.48,3.5,14.62,4.32), (17.58,3.5,17.84,4.32), (17.64,3.5,17.78,4.32), (18.95,3.5,19.23,11.89), (18.95,3.5,19.23,11.8), (18.96,3.5,19.22,11.8), (19.02,3.5,19.16,11.8), (11.59,3.555,11.87,3.925), (18.95,3.555,19.23,3.925), (0.1,4.09,0.36,4.41), (1.02,4.09,1.28,4.41), (14.42,4.09,14.68,4.41), (17.58,4.09,17.84,4.41), (15.74,4.16,16,4.48), (0.1,4.18,0.36,11.53), (0.16,4.18,0.3,11.53), (15.74,4.25,16,11.8), (15.8,4.25,15.94,11.8), (7.46,5.16,7.72,5.48), (8.84,5.16,9.1,5.48), (7.46,5.25,7.72,6.02), (7.52,5.25,7.66,6.02), (8.84,5.25,9.1,7.51), (8.9,5.25,9.04,7.51), (7.46,5.79,7.72,6.11), (9.3,5.79,9.56,6.11), (9.3,5.88,9.56,11.8), (9.36,5.88,9.5,11.8), (8.84,7.28,9.1,7.6), (24.48,7.28,24.74,7.6), (24.48,7.37,24.74,9.63), (24.54,7.37,24.68,9.63), (3.78,7.49,4.04,7.81), (4.24,7.49,4.5,7.81), (3.78,7.58,4.04,8.39), (3.84,7.58,3.98,8.39), (4.24,7.58,4.5,14.52), (4.3,7.58,4.44,14.52), (3.78,8.16,4.04,8.48), (5.62,8.16,5.88,8.48), (5.62,8.25,5.88,11.8), (5.68,8.25,5.82,11.8), (24.48,9.4,24.74,9.72), (25.4,9.4,25.98,9.72), (25.46,9.49,25.6,10.78), (25.4,10.55,25.98,10.87), (0.1,11.3,0.36,11.62), (2.86,11.3,3.12,11.62), (5.62,11.57,5.88,11.89), (9.3,11.57,9.56,11.89), (15.74,11.57,16,11.89), (18.96,11.57,19.22,11.89), (1.02,11.91,1.28,12.23), (1.02,12,1.28,14.86), (1.08,12,1.22,14.86), (-4.5,12.59,-4.24,12.91), (-4.5,12.68,-4.24,17.75), (-4.44,12.68,-4.3,17.75), (17.58,13.61,17.84,13.93), (17.58,13.7,17.84,17.22), (17.64,13.7,17.78,17.22), (-3.12,14.29,-2.86,14.61), (4.24,14.29,4.5,14.61), (-3.12,14.38,-2.86,21.095), (-3.06,14.38,-2.92,21.095), (1.02,14.63,1.28,14.95), (5.605,14.63,5.865,14.95), (1.02,14.72,1.28,15.705), (1.08,14.72,1.22,15.705), (5.605,14.72,5.865,15.705), (5.665,14.72,5.805,15.705), (2.3,14.97,2.56,15.29), (4.24,14.97,4.5,15.29), (4.7,14.97,4.96,15.29), (7,14.97,7.26,15.29), (13.245,14.97,13.505,15.29), (16.66,14.97,17.24,15.29), (18.96,14.97,19.22,15.29), (2.3,15.06,2.56,21.73), (2.36,15.06,2.5,21.73), (4.24,15.06,4.5,15.705), (4.3,15.06,4.44,15.705), (4.7,15.06,4.96,18.94), (4.76,15.06,4.9,18.94), (7,15.06,7.26,21.73), (7.06,15.06,7.2,21.73), (13.245,15.06,13.505,21.73), (13.305,15.06,13.445,21.73), (16.72,15.06,16.86,17.75), (18.96,15.06,19.22,15.705), (19.02,15.06,19.16,15.705), (1.02,15.475,1.28,15.795), (4.24,15.475,4.5,15.795), (5.605,15.475,5.865,15.795), (14.42,15.475,14.68,15.795), (18.96,15.475,19.22,15.795), (14.42,15.565,14.68,21.73), (14.48,15.565,14.62,21.73), (6.16,16.145,6.74,16.465), (12.06,16.145,12.64,16.465), (15.74,16.145,16.32,16.465), (6.22,16.235,6.36,21.73), (15.8,16.235,15.94,21.095), (17.58,16.99,17.84,17.31), (-4.5,17.52,-4.24,17.84), (5.285,17.52,5.865,17.84), (16.66,17.52,17.24,17.84), (-4.5,17.61,-4.24,21.73), (-4.44,17.61,-4.3,21.73), (5.665,17.61,5.805,21.73), (16.72,17.61,16.86,18.94), (4.7,18.71,4.96,19.03), (16.66,18.71,17.24,19.03), (-3.12,20.865,-2.86,21.185), (15.74,20.865,16.32,21.185), (-4.5,21.5,-4.24,21.82), (-1.11,21.5,-0.85,21.82), (4.59,21.5,4.85,21.82), (7,21.5,7.26,21.82)])
R(c_bias, via2, [(11.63,3.64,11.83,3.84), (18.99,3.64,19.19,3.84)])
R(c_bias, met3, [(11.565,3.575,11.895,3.905), (11.58,3.575,19.24,3.905), (18.925,3.575,19.255,3.905), (11.58,3.59,19.24,3.89)])
R(c_bias, urpm, [(-5.255,18.27,5.965,19.54), (6.815,18.27,18.035,19.54), (-5.255,20.39,5.965,21.66), (6.815,20.39,18.035,21.66)])
A(c_bias, rpm, 5.4, 4.685, 10.72, 1.27, 1, 3, 0, 2.12)
A(c_bias, rpm, 16.97, 4.685, 10.72, 1.27, 1, 3, 0, 2.12)
A(c_bias, nsdm, 10.205, 11.235, 2.78, 4.25, 5, 1, 3.16, 0)
R(c_bias, nsdm, [(-5.2,-0.965,5.2,-0.305), (8.61,-0.965,21.63,-0.305), (-4.875,11.235,-3.795,12.485), (-3.415,11.235,-1.635,15.485), (-1.255,11.235,0.525,13.485), (0.905,11.235,1.985,12.485), (2.365,11.235,3.445,12.485), (3.825,11.235,5.105,15.485), (5.485,11.235,8.265,15.485), (-5.2,15.975,18.5,16.635)])
A(c_bias, psdm, 8.99, -0.125, 2.78, 4.25, 4, 1, 3.16, 0)
A(c_bias, psdm, 5.49, 4.865, 10.54, 0.91, 1, 3, 0, 2.12)
A(c_bias, psdm, 17.06, 4.865, 10.54, 0.91, 1, 3, 0, 2.12)
R(c_bias, psdm, [(-4.82,-0.125,0.24,4.125), (0.62,-0.125,1.7,2.125), (2.08,-0.125,3.16,2.125), (3.54,-0.125,4.82,8.125), (-5.255,10.395,8.645,11.055), (9.825,10.395,26.005,11.055), (-4.82,16.815,-3.04,17.485), (-2.66,16.815,18.12,17.485), (-5.165,18.62,5.875,19.19), (6.905,18.62,17.945,19.19), (-5.165,20.74,5.875,21.31), (6.905,20.74,17.945,21.31)])
A(c_bias, npc, 9.345, 4.135, 2.07, 0.37, 4, 1, 3.16, 0)
A(c_bias, npc, 5.505, 4.88, 10.51, 0.88, 1, 3, 0, 2.12)
A(c_bias, npc, 17.075, 4.88, 10.51, 0.88, 1, 3, 0, 2.12)
A(c_bias, npc, 10.56, 15.45, 2.07, 0.37, 5, 1, 3.16, 0)
R(c_bias, npc, [(0.975,2.165,1.345,2.535), (2.435,2.165,2.805,2.535), (-4.345,4.135,-0.235,4.505), (3.995,8.135,4.365,8.505), (-4.52,12.515,-4.15,12.885), (1.26,12.515,1.63,12.885), (2.72,12.515,3.09,12.885), (-0.89,13.525,0.16,13.895), (-3.05,15.45,-2,15.82), (4.28,15.45,4.65,15.82), (5.84,15.45,7.91,15.82), (-4.455,17.495,-3.405,17.865), (-2.315,17.495,17.775,17.865), (-5.15,18.635,5.86,19.175), (6.92,18.635,17.93,19.175), (-5.15,20.755,5.86,21.295), (6.92,20.755,17.93,21.295)])
c_bias.add(gdstk.Label('VBN', (14.55,21.66), layer=69, texttype=5))
c_bias.add(gdstk.Label('VBP', (13.375,21.66), layer=69, texttype=5))
c_bias.add(gdstk.Label('VDD', (6.29,21.66), layer=69, texttype=5))
c_bias.add(gdstk.Label('VSS', (5.735,21.66), layer=69, texttype=5))
c_bias.add(gdstk.Label('VCP', (4.72,21.66), layer=69, texttype=5))
c_bias.add(gdstk.Label('VCN', (2.43,21.66), layer=69, texttype=5))
c_bias.add(gdstk.Label('PDN', (1.89,21.66), layer=69, texttype=5))
c_bias.add(gdstk.Label('PD', (-0.98,21.66), layer=69, texttype=5))
c_bias.add(gdstk.Label('VSS', (26.33,9.56), layer=67, texttype=5))
c_bias.add(gdstk.Label('VDD', (0,-0.635), layer=67, texttype=5))
c_bias.add(gdstk.Label('PDN', (1.16,2.35), layer=67, texttype=5))
c_bias.add(gdstk.Label('PD', (-4.335,12.7), layer=67, texttype=5))
c_bias.add(gdstk.Label('VCP', (2.91,1), layer=67, texttype=5))
c_bias.add(gdstk.Label('VCN', (-2.29,2), layer=67, texttype=5))
c_bias.add(gdstk.Label('VBP', (1.45,1), layer=67, texttype=5))
c_bias.add(gdstk.Label('VBN', (11.52,2), layer=67, texttype=5))

lib.write_gds('C_BIAS.gds')
